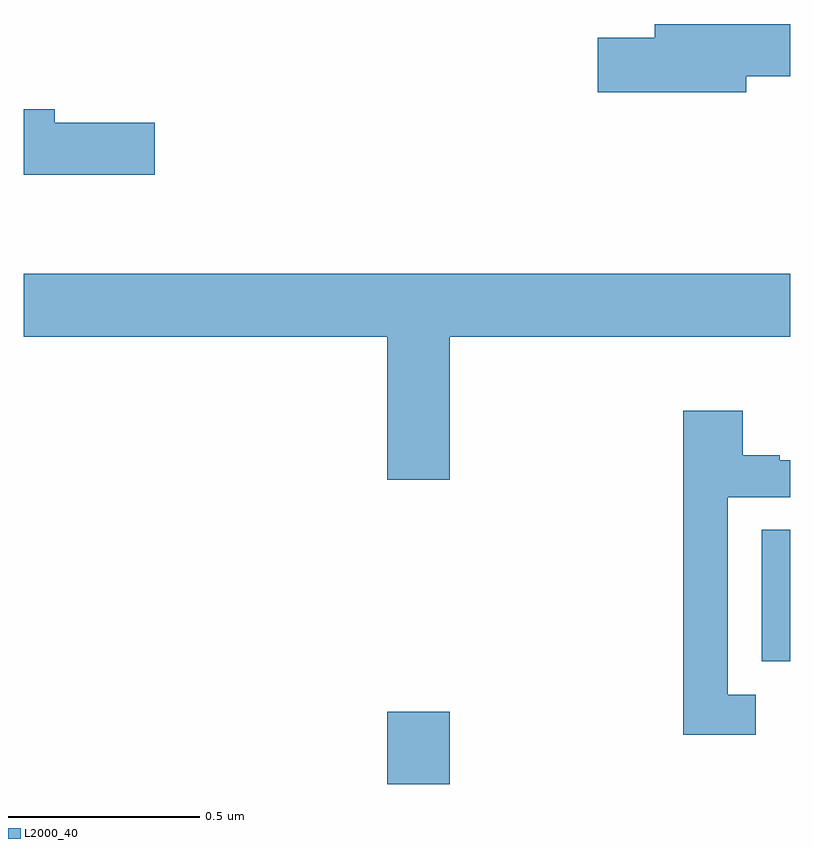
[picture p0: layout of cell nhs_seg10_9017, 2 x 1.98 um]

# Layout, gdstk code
import gdstk
lib = gdstk.Library(unit=1e-6, precision=1e-09)
def R(c, l, rs):  # rectangles x0, y0, x1, y1
    for r in rs: c.add(gdstk.rectangle(r[:2], r[2:], *l))
def P(c, l, *ps):  # polygons
    for p in ps: c.add(gdstk.Polygon(p, *l))
L2000_40 = (2000, 40)

nhs_seg10_9017 = lib.new_cell('nhs_seg10_9017')
R(nhs_seg10_9017, L2000_40, [(224.948,1280.5,225.112,1280.689), (225.926,1280.821,226,1281.164)])
P(nhs_seg10_9017, L2000_40, [(225.886,1282.348),(226,1282.348),(226,1282.484),(225.647,1282.484),(225.647,1282.448),(225.498,1282.448),(225.498,1282.306),(225.886,1282.306)],
  [(224.341,1282.226),(224.08,1282.226),(224.08,1282.262),(224,1282.262),(224,1282.091),(224.341,1282.091)],
  [(225.112,1281.668),(226,1281.668),(226,1281.832),(224,1281.832),(224,1281.668),(224.948,1281.668),(224.948,1281.294),(225.112,1281.294)],
  [(225.91,1280.733),(225.837,1280.733),(225.837,1281.249),(226,1281.249),(226,1281.345),(225.973,1281.345),(225.973,1281.358),(225.877,1281.358),(225.877,1281.475),(225.721,1281.475),(225.721,1280.628),(225.91,1280.628)])

lib.write_gds('nhs_seg10_9017.gds')
